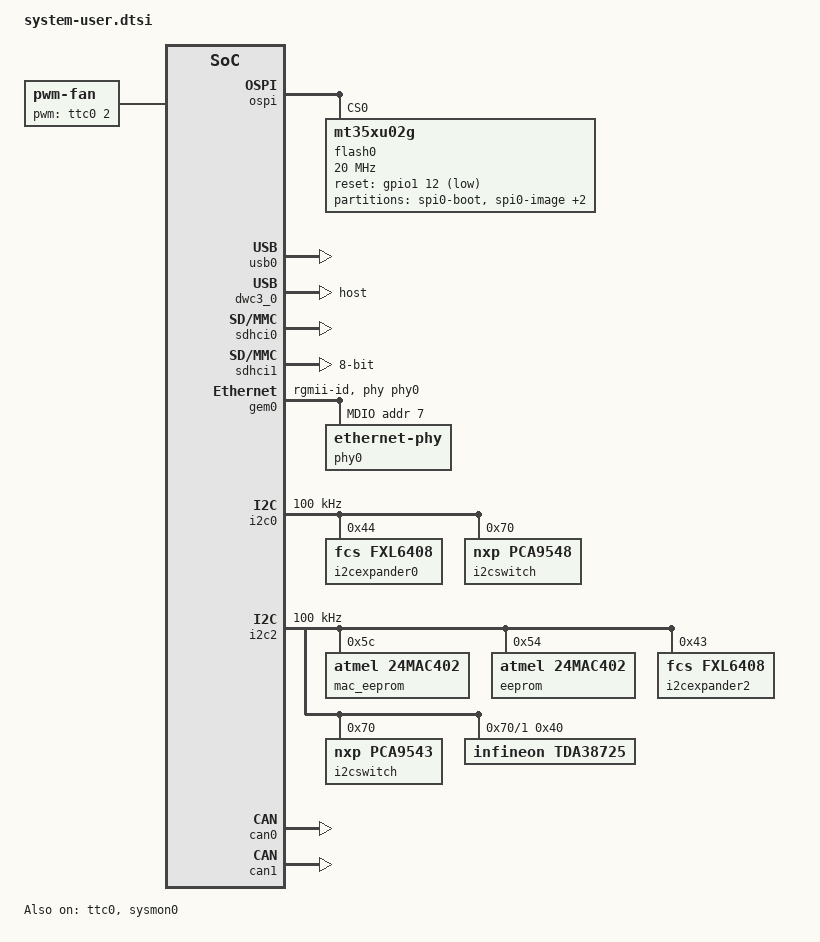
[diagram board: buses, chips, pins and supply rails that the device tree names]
#include "include/dt-bindings/gpio/gpio.h"
#include "include/dt-bindings/phy/phy.h"
#include "include/dt-bindings/input/input.h"

/ {
	chosen {
		bootargs = "console=ttyAMA0 earlycon=pl011,mmio32,0xFF000000,115200n8";
		stdout-path = "serial0:115200";
	};

	aliases {
		serial0 = &serial0;
/*		serial2 = &dcc;*/
		i2c0 = &i2c0;
		i2c2 = &i2c2;
		mmc0 = &sdhci1;
		mmc1 = &sdhci0;
		spi0 = &ospi;
		usb0 = &usb0;
		rtc0 = &rtc;
		sysmon0 = &sysmon0;
		can0 = &can0;
		can1 = &can1;
		ttc0 = &ttc0;
		nvmem0 = &mac_eeprom;
	};

	pwm-fan {
		compatible = "pwm-fan";
		#cooling-cells = <2>;
		pwms = <&ttc0 2 40000 0>;
		cooling-levels = <0 64 128 255>;
	};
};

/* SD_BUSPWR - PMC MIO49 */
/* PMC_LED_2 - PMC MIO48 */
/* PMC_LED_1 - PMC MIO47 */
/* PMC_PB_2 - PMC MIO46 */
/* PMC_PB_1 - PMC MIO37 */
/* PMC_I2C_EXP_RST_B - MIO28 */
/* PMC_INT_B - MIO11 */
/* CAN0_NSTB - LPD MIO12 */
/* CAN1_NSTB - LPD MIO13 */

&ospi { /* PMC MIO0-10, 12, U3 MT35XU02G or MT35X512M */
	bus-num = <2>;
	num-cs = <1>;
	#stream-id-cells = <1>;
	#address-cells = <1>;
	#size-cells = <0>;

	flash0:flash@0 {
		compatible = "mt35xu02g", "micron,m25p80", "jedec,spi-nor";
		reg = <0>;
		#address-cells = <1>;
		#size-cells = <1>;
		cdns,read-delay = <0>;
		cdns,tshsl-ns = <0>;
		cdns,tsd2d-ns = <0>;
		cdns,tchsh-ns = <1>;
		cdns,tslch-ns = <1>;
		spi-tx-bus-width = <8>;
		spi-rx-bus-width = <8>;
		spi-max-frequency = <20000000>;
		no-wp;
		reset-gpios = <&gpio1 12 GPIO_ACTIVE_LOW>;
		partition@0 {
			label = "spi0-boot";
			reg = <0x00000000 0x01000000>;
		};
		partition@1 {
			label = "spi0-image";
			reg = <0x01000000 0x06f80000>;
		};
		partition@2 {
			label = "spi0-scr";
			reg = <0x07f80000 0x00040000>;
		};
		partition@3 {
			label = "spi0-user";
			reg = <0x07fc0000 0x08040000>;
		};
	};
};

&usb0 {
	status = "okay";
};

&dwc3_0 { /* USB 2.0 host */
	status = "okay";
	dr_mode = "host";
	maximum-speed = "high-speed";
	snps,dis_u2_susphy_quirk;
	snps,dis_u3_susphy_quirk;
	snps,usb3_lpm_capable;
};

&sdhci0 { /* PMC_MIO38-45/49 */
	status = "okay";
	xlnx,mio-bank = <1>;
	no-1-8-v;
};

&sdhci1 { /* PMC_MIO26-27/29-36 */
	status = "okay";
	bus-width = <8>;
};

&gem0 { /* PMC_MIO_48, LPD_MIO0-11/24/25 */
	status = "okay";
	phy-handle = <&phy0>;
	phy-mode = "rgmii-id";
   nvmem-cells = <&mac_address>;
   nvmem-cell-names = "mac-address";
	mdio: mdio {
		#address-cells = <1>;
		#size-cells = <0>;
		phy0: ethernet-phy@7 { /* U7 - KSZ9131RNXI */
			#phy-cells = <1>;
			reg = <0x7>;
		};
	};
};

&i2c0 { 
	status = "okay";
	bootph-all;
	clock-frequency = <100000>;

	i2cexpander0: fxl6408@44 {
		compatible = "fcs,fxl6408";
		reg = <0x44>;
		#address-cells = <1>;
		#size-cells = <0>;
	};
	
	i2cswitch@70 { /* U14 on VE2302-SOM */
		compatible = "nxp,pca9548";
		#address-cells = <1>;
		#size-cells = <0>;
		reg = <0x70>;
	
		i2c@0 {
			#address-cells = <1>;
			#size-cells = <0>;
			reg = <0x0>;
		};

		i2c@1 {
			#address-cells = <0x1>;
			#size-cells = <0x0>;
			reg = <0x1>;
		};
		
		i2c@2 {
			#address-cells = <0x1>;
			#size-cells = <0x0>;
			reg = <0x2>;
		};

		i2c@3 {
			#address-cells = <1>;
			#size-cells = <0>;
			reg = <0x3>;
		};

		i2c@4 {
			#address-cells = <0x1>;
			#size-cells = <0x0>;
			reg = <0x4>;
		};
		
		i2c@5 {
			#address-cells = <0x1>;
			#size-cells = <0x0>;
			reg = <0x5>;
		};

		i2c@6 {
			#address-cells = <1>;
			#size-cells = <0>;
			reg = <0x6>;
		};

		i2c@7 {
			#address-cells = <0x1>;
			#size-cells = <0x0>;
			reg = <0x7>;
		};	
	};
};

&i2c2 { 
	status = "okay";
	bootph-all;
	clock-frequency = <100000>;

   /* Ethernet MAC ID EEPROM */
   mac_eeprom: mac_eeprom@5c { /* U15 */
      #address-cells = <1>;
      #size-cells = <1>;
      compatible = "atmel,24mac402";
      reg = <0x5c>;

      mac_address: mac-address@9A {
         reg = <0x9A 0x06>;
      };
   };

	eeprom: eeprom@54 { 
		compatible = "atmel,24mac402";
		reg = <0x54>; 
		bootph-all;
	};
	
	i2cexpander2: fxl6408@43 {
		compatible = "fcs,fxl6408";
		reg = <0x43>;
		#address-cells = <1>;
		#size-cells = <0>;
	};
	
	i2cswitch@70 { /* U14 on VE2302-SOM */
		compatible = "nxp,pca9543";
		#address-cells = <1>;
		#size-cells = <0>;
		reg = <0x70>;
	
		i2c@0 { /* i2c mw 70 0 1 */
			#address-cells = <1>;
			#size-cells = <0>;
			reg = <0>;
			/*
			// ONLY HSIO CONNECTOR ATTACHED TO BUS- UNKNOWN SLAVE 
			*/
		};

		i2c@1 {
			#address-cells = <0x1>;
			#size-cells = <0x0>;
			reg = <0x1>;
			/*
			// ONLY INFINEON REGULATOR ATTACHED TO PMBUS 
			*/
			tda38725@40 {
				compatible = "infineon,tda38725";
				reg = <0x40>;
			};
		};
	};
}; 

&can0 {
	status = "okay";
};

&can1 {
	status = "okay";
};

&ttc0 {
	status = "okay";
	#pwm-cells = <3>;
};

&sysmon0 {
   compatible = "xlnx,versal-sysmon";
   reg = <0x00 0xf1270000 0x00 0x4000>;
   interrupts = <0x00 0x90 0x04>;
//   xlnx,numchannels = <8>;
   status = "okay";
/*
   vcc_pmc {
   	xlnx,register = <1>;
      xlnx,bipolar;
   	xlnx,name = "vcc_pmc";
   };

   vcc_psfp {
   	xlnx,register = <2>;
      xlnx,bipolar;
      xlnx,name = "vcc_psfp";
   };

   vcc_pslp {
   	xlnx,register = <3>;
      xlnx,bipolar;
      xlnx,name = "vcc_pslp";
   };
 
   vcc_ram {
   	xlnx,register = <4>;
      xlnx,bipolar;
      xlnx,name = "vcc_ram";
   };

   vcc_soc {
   	xlnx,register = <5>;
      xlnx,bipolar;
      xlnx,name = "vcc_soc";
   };
 
   vccint {
   	xlnx,register = <6>;
      xlnx,bipolar;
      xlnx,name = "vccint";
   };
 
   vccaux {
   	xlnx,register = <7>;
   	xlnx,bipolar;
      xlnx,name = "vccaux";
   };

   vccaux_pmc {
   	xlnx,register = <8>;
   	xlnx,name = "vccaux_pmc";
   };
*/
};

